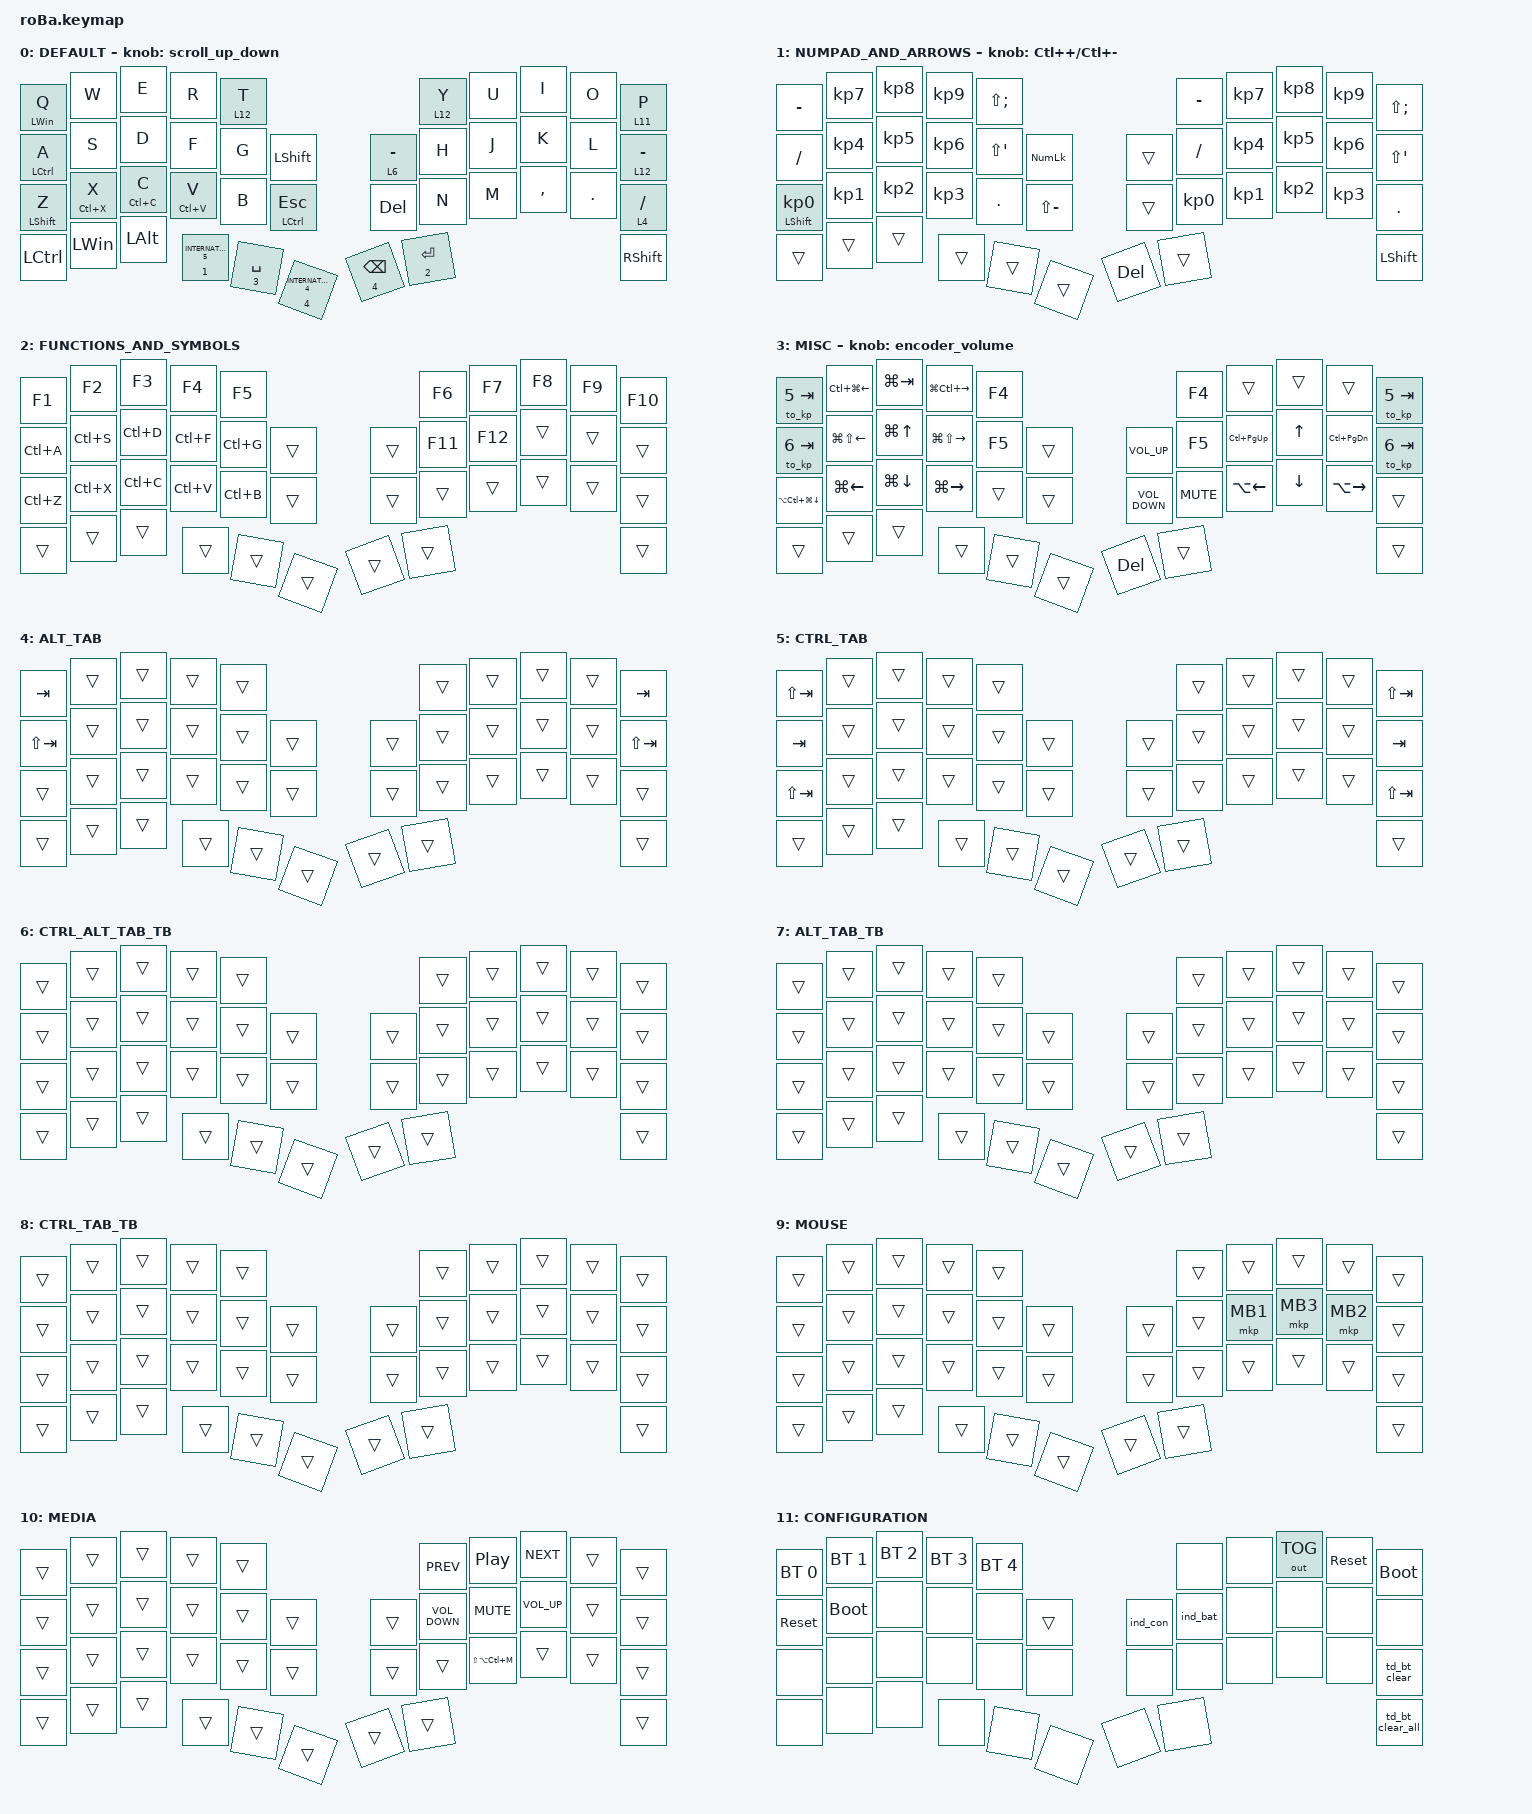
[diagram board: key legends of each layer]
#include <behaviors/rgbled_widget.dtsi>
#include <behaviors.dtsi>
#include <dt-bindings/zmk/bt.h>
#include <dt-bindings/zmk/keys.h>
#include <dt-bindings/zmk/outputs.h>
#include <dt-bindings/zmk/pointing.h>
#include <input/processors.dtsi>
#include "roBa_trackball_behavior.dtsi"
#include "roBa_layer.dtsi"
#define ZMK_POINTING_DEFAULT_SCRL_VAL 100



&mt {
    flavor = "balanced";
    quick-tap-ms = <0>;
};


&lt {
    tapping-term-ms = <200>;
    quick-tap-ms = <250>;
    flavor = "balanced";
};

&sk { release-after-ms = <700>; };

&sl { release-after-ms = <1000>; };

&mkp_input_listener { input-processors = <&zip_temp_layer MOUSE 10000>; };

/ {
    layer_listeners {
        compatible = "zmk,layer-listeners";

        release_alt {
            layers = <ALT_TAB ALT_TAB_TB>;
            bindings = <&kt_on LEFT_ALT &kt_off LEFT_ALT>;
        };

        release_ctrl {
            layers = <CTRL_TAB CTRL_TAB_TB>;
            bindings = <&kt_on LCTRL &kt_off LCTRL>;
        };

        // AML_indicator {
        //     layers = <MOUSE>;
        //     bindings = <&kp LS(LA(LC(LG(H)))) &kp LS(LA(LC(LG(H))))>;
        // };
        // AML {
        //     layers = <MOUSE>;
        //     bindings = <&to MOUSE &none>;
        // };
    };

    combos {
        compatible = "zmk,combos";

        tab {
            bindings = <&kp TAB>;
            key-positions = <11 12>;
        };

        shift_tab {
            bindings = <&kp LS(TAB)>;
            key-positions = <12 13>;
        };

        zenkaku-hankaku {
            bindings = <&kp LANGUAGE_1>;
            key-positions = <11 10>;
        };

        double_quotation {
            bindings = <&kp DOUBLE_QUOTES>;
            key-positions = <20 21>;
        };

        eq {
            bindings = <&kp LS(MINUS)>;
            key-positions = <24 25>;
        };

        esc_combo {
            bindings = <&kp ESCAPE>;
            key-positions = <0 1>;
        };

        lang2 {
            bindings = <&kp LANGUAGE_2>;
            key-positions = <22 23>;
        };
    };

    macros {
        mo_exit_alttab: mo_exit_alttab_ctrltab {
            compatible = "zmk,behavior-macro-one-param";
            wait-ms = <0>;
            tap-ms = <0>;
            #binding-cells = <1>;
            bindings =
                <&macro_press>,
                <&macro_param_1to1 &mo MACRO_PLACEHOLDER>,
                <&macro_tap>,
                <&macro_pause_for_release>,
                <&macro_release>,
                <&macro_param_1to1 &mo MACRO_PLACEHOLDER>,
                <&macro_tap>,
                <&tog_off ALT_TAB &tog_off CTRL_TAB>;
        };

        to_kp: to_kp {
            compatible = "zmk,behavior-macro-two-param";
            #binding-cells = <2>;
            bindings = <&macro_param_1to1 &to MACRO_PLACEHOLDER &macro_param_2to1 &kp MACRO_PLACEHOLDER>;
            label = "to_kp";
        };

        mo_to_0: mo_to_0 {
            compatible = "zmk,behavior-macro-one-param";
            wait-ms = <0>;
            tap-ms = <0>;
            #binding-cells = <1>;
            bindings =

                <&macro_press>,
                <&macro_param_1to1 &mo MACRO_PLACEHOLDER>,
                <&macro_tap>,
                <&macro_pause_for_release>,
                <&macro_release>,
                <&macro_param_1to1 &mo MACRO_PLACEHOLDER>,
                <&macro_tap>,
                <&to 0>;

            label = "MO_to_0";
        };
            
        to_layer_0: to_layer_0 {
            compatible = "zmk,behavior-macro-one-param";
            #binding-cells = <1>;
            bindings = <&to 0 &macro_param_1to1 &kp MACRO_PLACEHOLDER>;
            label = "TO_LAYER_0";
        };
    };

    behaviors {
        tog_off: toggle_layer_off {
                compatible = "zmk,behavior-toggle-layer";
                #binding-cells = <1>;
                display-name = "Toggle Layer Off";
                toggle-mode = "off";
             };

            kt_on: key_toggle_on_only {
                compatible = "zmk,behavior-key-toggle";
                #binding-cells = <1>;
                display-name = "Key Toggle On";
                toggle-mode = "on";
            };

            kt_off: key_toggle_off_only {
                compatible = "zmk,behavior-key-toggle";
                #binding-cells = <1>;
                display-name = "Key Toggle Off";
                toggle-mode = "off";
            };

            lt_to_0: lt_to_0 {
                compatible = "zmk,behavior-hold-tap";
                label = "LT_to_0";
                bindings = <&mo_to_0>, <&kp>;

                #binding-cells = <2>;
                tapping-term-ms = <200>;
                quick-tap-ms = <200>;
                flavor = "balanced";
            };

            lt_exit_alttab: lt_exit_alttab_ctrltab_on_hold_release {
                compatible = "zmk,behavior-hold-tap";
                bindings = <&mo_exit_alttab>, <&kp>;

                #binding-cells = <2>;
                tapping-term-ms = <200>;
                quick-tap-ms = <200>;
                flavor = "balanced";
             };


            scroll_up_down: behavior_sensor_rotate_mouse_wheel_up_down {
                compatible = "zmk,behavior-sensor-rotate";
                #sensor-binding-cells = <0>;
                bindings = <&msc SCRL_UP>, <&msc SCRL_DOWN>;
                tap-ms = <20>;
            };

            encoder_volume: encoder_volume {
                compatible = "zmk,behavior-sensor-rotate";
                #sensor-binding-cells = <0>;
                bindings = <&kp C_VOLUME_DOWN>, <&kp C_VOLUME_UP>;
            };

            td_bt_clear: td_bt_clear {
                compatible = "zmk,behavior-tap-dance";
                #binding-cells = <0>;
                bindings = <&none>, <&none>, <&bt BT_CLR>;

                tapping-term-ms = <250>;
            };

            td_bt_clear_all: td_bt_clear_all {
                compatible = "zmk,behavior-tap-dance";
                #binding-cells = <0>;
                tapping-term-ms = <250>;
                bindings = <&none>, <&none>, <&bt BT_CLR_ALL>;
            };

    };

    keymap {
        compatible = "zmk,keymap";

   DEFAULT {
            bindings = <
&mt LWIN  Q       &kp W             &kp E         &kp R                               &lt 12 T                                                                                     &lt 12 Y                 &kp U  &kp I      &kp O    &lt 11 P
&mt LCTRL A       &kp S             &kp D         &kp F                               &kp G                    &kp LEFT_SHIFT                          &lt 6 MINUS                 &kp H                    &kp J  &kp K      &kp L    &lt 12 MINUS //layer 5
&mt LEFT_SHIFT Z  &mt LC(X) X       &mt LC(C) C   &mt LC(V) V                         &kp B                    &mt LCTRL ESCAPE                        &kp DEL                     &kp N                    &kp M  &kp COMMA  &kp DOT  &lt 4 SLASH
&kp LCTRL         &kp LEFT_WIN      &kp LEFT_ALT  &lt_exit_alttab 1 INTERNATIONAL_5   &lt_exit_alttab 3 SPACE  &lt_exit_alttab 4 INTERNATIONAL_4       &lt_exit_alttab 4 BACKSPACE &lt_exit_alttab 2 ENTER                            &kp RIGHT_SHIFT
            >;
        
            sensor-bindings = <&scroll_up_down>;
        };

        NUMPAD_AND_ARROWS {
            bindings = <
&kp MINUS                   &kp KP_NUMBER_7  &kp KP_NUMBER_8  &kp KP_NUMBER_9  &kp LS(SEMI)                               &kp MINUS        &kp KP_NUMBER_7  &kp KP_NUMBER_8  &kp KP_NUMBER_9  &kp LS(SEMI)
&kp SLASH                   &kp KP_NUMBER_4  &kp KP_NUMBER_5  &kp KP_NUMBER_6  &kp LS(SQT)   &kp KP_NUMLOCK      &trans   &kp SLASH        &kp KP_NUMBER_4  &kp KP_N5        &kp KP_NUMBER_6  &kp LS(SQT)
&mt LEFT_SHIFT KP_NUMBER_0  &kp KP_NUMBER_1  &kp KP_NUMBER_2  &kp KP_NUMBER_3  &kp PERIOD    &kp LS(MINUS)       &trans   &kp KP_NUMBER_0  &kp KP_NUMBER_1  &kp KP_NUMBER_2  &kp KP_NUMBER_3  &kp PERIOD
&trans                      &trans           &trans           &trans           &trans        &trans              &kp DEL  &trans                                                              &kp LEFT_SHIFT
            >;

            sensor-bindings = <&inc_dec_kp LC(PLUS) LC(MINUS)>;
        };

        FUNCTIONS_AND_SYMBOLS {
            bindings = <
&kp F1     &kp F2     &kp F3     &kp F4     &kp F5                         &kp F6   &kp F7   &kp F8  &kp F9  &kp F10
&kp LC(A)  &kp LC(S)  &kp LC(D)  &kp LC(F)  &kp LC(G)  &trans      &trans  &kp F11  &kp F12  &trans  &trans  &trans
&kp LC(Z)  &kp LC(X)  &kp LC(C)  &kp LC(V)  &kp LC(B)  &trans      &trans  &trans   &trans   &trans  &trans  &trans
&trans     &trans     &trans     &trans     &trans     &trans      &trans  &trans                            &trans
            >;
        };

        MISC {
            bindings = <
&to_kp 5 TAB          &kp LC(LG(LEFT))        &kp LG(TAB)       &kp LG(LC(RIGHT))        &kp F4                                                             &kp F4      &trans                    &trans                 &trans             &to_kp 5 TAB
&to_kp 6 TAB          &kp LG(LS(LEFT_ARROW))  &kp LG(UP_ARROW)  &kp LG(LS(RIGHT_ARROW))  &kp F5            &trans               &kp C_VOLUME_UP             &kp F5      &kp LC(PAGE_UP)  &kp UP_ARROW           &kp LC(PAGE_DOWN)  &to_kp 6 TAB
&kp LA(LC(LG(DOWN)))  &kp LG(LEFT_ARROW)      &kp LG(DOWN)      &kp LG(RIGHT_ARROW)      &trans            &trans               &kp C_VOLUME_DOWN           &kp K_MUTE  &kp LA(LEFT)              &kp DOWN               &kp LA(RIGHT)      &trans
&trans                &trans                  &trans            &trans                   &trans            &trans               &kp DELETE                  &trans                                                                          &trans
            >;

            sensor-bindings = <&encoder_volume>;
        };

        ALT_TAB {
            bindings = <
&kp TAB      &trans  &trans  &trans  &trans                      &trans  &trans  &trans  &trans  &kp TAB
&kp LS(TAB)  &trans  &trans  &trans  &trans  &trans      &trans  &trans  &trans  &trans  &trans  &kp LS(TAB)
&trans       &trans  &trans  &trans  &trans  &trans      &trans  &trans  &trans  &trans  &trans  &trans
&trans       &trans  &trans  &trans  &trans  &trans      &trans  &trans                          &trans
            >;
        };

        CTRL_TAB {
            bindings = <
&kp LS(TAB)  &trans  &trans  &trans  &trans                      &trans  &trans  &trans  &trans  &kp LS(TAB)
&kp TAB      &trans  &trans  &trans  &trans  &trans      &trans  &trans  &trans  &trans  &trans  &kp TAB
&kp LS(TAB)  &trans  &trans  &trans  &trans  &trans      &trans  &trans  &trans  &trans  &trans  &kp LS(TAB)
&trans       &trans  &trans  &trans  &trans  &trans      &trans  &trans                          &trans
            >;
        };

        CTRL_ALT_TAB_TB {
            bindings = <
&trans  &trans  &trans  &trans  &trans                      &trans  &trans  &trans  &trans  &trans
&trans  &trans  &trans  &trans  &trans  &trans      &trans  &trans  &trans  &trans  &trans  &trans
&trans  &trans  &trans  &trans  &trans  &trans      &trans  &trans  &trans  &trans  &trans  &trans
&trans  &trans  &trans  &trans  &trans  &trans      &trans  &trans                          &trans
            >;
        };

        ALT_TAB_TB {
            bindings = <
&trans  &trans  &trans  &trans  &trans                      &trans  &trans  &trans  &trans  &trans
&trans  &trans  &trans  &trans  &trans  &trans      &trans  &trans  &trans  &trans  &trans  &trans
&trans  &trans  &trans  &trans  &trans  &trans      &trans  &trans  &trans  &trans  &trans  &trans
&trans  &trans  &trans  &trans  &trans  &trans      &trans  &trans                          &trans
            >;
        };

        CTRL_TAB_TB {
            bindings = <
&trans  &trans  &trans  &trans  &trans                      &trans  &trans  &trans  &trans  &trans
&trans  &trans  &trans  &trans  &trans  &trans      &trans  &trans  &trans  &trans  &trans  &trans
&trans  &trans  &trans  &trans  &trans  &trans      &trans  &trans  &trans  &trans  &trans  &trans
&trans  &trans  &trans  &trans  &trans  &trans      &trans  &trans                          &trans
            >;
        };

        MOUSE {
            bindings = <
&trans  &trans  &trans  &trans  &trans                      &trans  &trans    &trans    &trans    &trans
&trans  &trans  &trans  &trans  &trans  &trans      &trans  &trans  &mkp MB1  &mkp MB3  &mkp MB2  &trans
&trans  &trans  &trans  &trans  &trans  &trans      &trans  &trans  &trans    &trans    &trans    &trans
&trans  &trans  &trans  &trans  &trans  &trans      &trans  &trans                                &trans
            >;
        };

        MEDIA {
            bindings = <
&trans  &trans  &trans  &trans  &trans                      &kp C_PREV         &kp C_PLAY_PAUSE   &kp C_NEXT       &trans  &trans
&trans  &trans  &trans  &trans  &trans  &trans      &trans  &kp C_VOLUME_DOWN  &kp C_MUTE         &kp C_VOLUME_UP  &trans  &trans
&trans  &trans  &trans  &trans  &trans  &trans      &trans  &trans             &kp LS(LA(LC(M)))  &trans           &trans  &trans
&trans  &trans  &trans  &trans  &trans  &trans      &trans  &trans                                                         &trans
            >;
        };


        CONFIGURATION {
            bindings = <
&bt BT_SEL 0  &bt BT_SEL 1  &bt BT_SEL 2  &bt BT_SEL 3  &bt BT_SEL 4                            &none         &none         &out OUT_TOG  &sys_reset      &bootloader
&sys_reset    &bootloader   &none         &none         &none         &trans      &ind_con      &ind_bat      &none         &none         &none           &none
&none         &none         &none         &none         &none         &none       &none         &none         &none         &none         &none           &td_bt_clear
&none         &none         &none         &none         &none         &none       &none         &none                                                     &td_bt_clear_all
            >;
        };
    };

};
